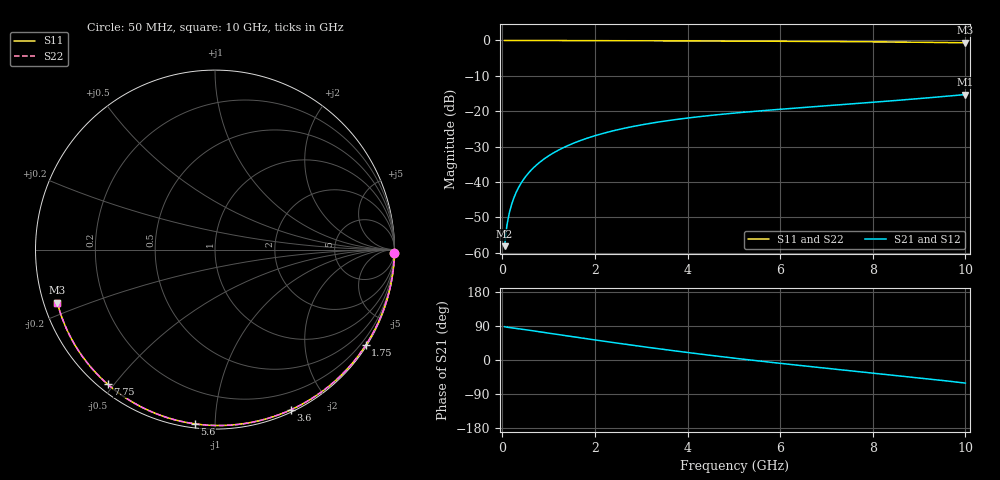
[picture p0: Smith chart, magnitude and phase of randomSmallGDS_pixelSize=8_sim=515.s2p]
! freq	dB(S11)	phase(S11)	dB(S12)	phase(S12)
!  dB(S21)	phase(S21)	dB(S22)	phase(S22)
!S-par simulation data
#  GHz  S  DB  R 50
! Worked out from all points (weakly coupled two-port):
!   200 points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, 50 MHz to 10 GHz, reference 50 ohm
!   highest |S21| = -15.29 dB at 10 GHz (marker M1); lowest = -58.1 dB at 50 MHz (marker M2)
!   lowest |S11| = -0.7 dB at 10 GHz (marker M3), VSWR 26.28, Z = 1.95 - j8.15 ohm
!   |S11| at or under -10 dB: nowhere
!   |S22| runs from -0.7 to 0.0 dB; largest |S21 - S12| = 0
!   S11 on the Smith chart (normalised r, x): 50 MHz: open; 1.75 GHz: 0.04, -3.44; 3.6 GHz: 0.02, -1.58; 5.6 GHz: 0.02, -0.89; 7.75 GHz: 0.03, -0.48; 10 GHz: 0.04, -0.16
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0.05  -0.00 -0.9  -58.12 87.9  -58.12 87.9  -0.00 -0.9
0.1  -0.00 -1.9  -52.24 86.5  -52.24 86.5  -0.00 -1.9
0.15  -0.00 -2.8  -48.81 85.7  -48.81 85.7  -0.00 -2.8
0.2  -0.00 -3.8  -46.37 84.9  -46.37 84.9  -0.00 -3.8
0.25  -0.00 -4.7  -44.47 84.1  -44.47 84.1  -0.00 -4.7
0.35  -0.01 -6.6  -41.59 82.5  -41.59 82.5  -0.01 -6.6
0.5  -0.01 -9.4  -38.53 79.9  -38.53 79.9  -0.01 -9.4
0.7  -0.02 -13.2  -35.65 76.4  -35.65 76.4  -0.02 -13.2
1  -0.03 -18.7  -32.61 70.9  -32.61 70.9  -0.03 -18.7
1.35  -0.04 -25.2  -30.10 64.6  -30.10 64.6  -0.04 -25.2
1.75  -0.05 -32.4  -27.98 57.4  -27.98 57.4  -0.05 -32.4
2.6  -0.07 -47.6  -24.91 42.6  -24.91 42.6  -0.07 -47.6
3.4  -0.10 -61.4  -22.99 29.3  -22.99 29.3  -0.10 -61.4
3.6  -0.11 -64.7  -22.61 26.1  -22.61 26.1  -0.11 -64.7
4.3  -0.14 -76.3  -21.46 15.2  -21.46 15.2  -0.14 -76.3
5.05  -0.17 -88.2  -20.48 4.3  -20.48 4.3  -0.17 -88.2
5.6  -0.20 -96.7  -19.86 -3.4  -19.86 -3.4  -0.20 -96.7
6.7  -0.27 -113.2  -18.76 -17.9  -18.76 -17.9  -0.27 -113.2
7.75  -0.36 -128.5  -17.73 -31.2  -17.73 -31.2  -0.36 -128.5
8.35  -0.43 -137.2  -17.12 -38.9  -17.12 -38.9  -0.42 -137.2
9.2  -0.53 -149.5  -16.20 -49.9  -16.20 -49.9  -0.53 -149.5
10  -0.66 -161.5  -15.29 -60.9  -15.29 -60.9  -0.66 -161.4
